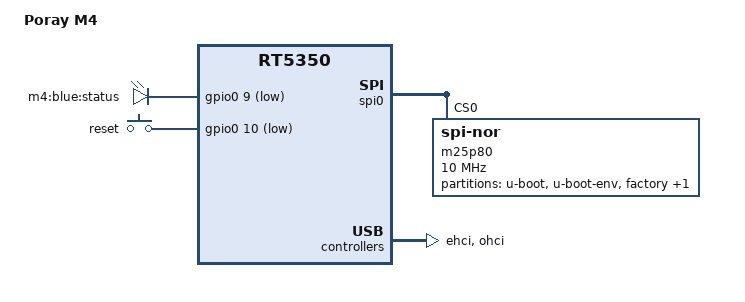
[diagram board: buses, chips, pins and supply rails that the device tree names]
/dts-v1/;

#include "rt5350.dtsi"

/ {
	compatible = "M4", "ralink,rt5350-soc";
	model = "Poray M4";

	gpio-leds {
		compatible = "gpio-leds";

		status {
			label = "m4:blue:status";
			gpios = <&gpio0 9 1>;
		};
	};

	gpio-keys-polled {
		compatible = "gpio-keys-polled";
		#address-cells = <1>;
		#size-cells = <0>;
		poll-interval = <20>;

		reset {
			label = "reset";
			gpios = <&gpio0 10 1>;
			linux,code = <0x198>;
		};
	};
};

&spi0 {
	status = "okay";

	m25p80@0 {
		#address-cells = <1>;
		#size-cells = <1>;
		compatible = "jedec,spi-nor";
		reg = <0>;
		linux,modalias = "m25p80", "pm25lq032";
		spi-max-frequency = <10000000>;

		partition@0 {
			label = "u-boot";
			reg = <0x0 0x30000>;
			read-only;
		};

		partition@30000 {
			label = "u-boot-env";
			reg = <0x30000 0x10000>;
			read-only;
		};

		factory: partition@40000 {
			label = "factory";
			reg = <0x40000 0x10000>;
			read-only;
		};

		partition@50000 {
			label = "firmware";
			reg = <0x50000 0x3b0000>;
		};
	};
};

&pinctrl {
	state_default: pinctrl0 {
		gpio {
			ralink,group = "i2c", "jtag", "uartf";
			ralink,function = "gpio";
		};
	};
};

&ethernet {
	mtd-mac-address = <&factory 0x4>;
};

&esw {
	mediatek,portmap = <0x2f>;
	mediatek,led_polarity = <1>;
};

&ehci {
	status = "okay";
};

&ohci {
	status = "okay";
};
